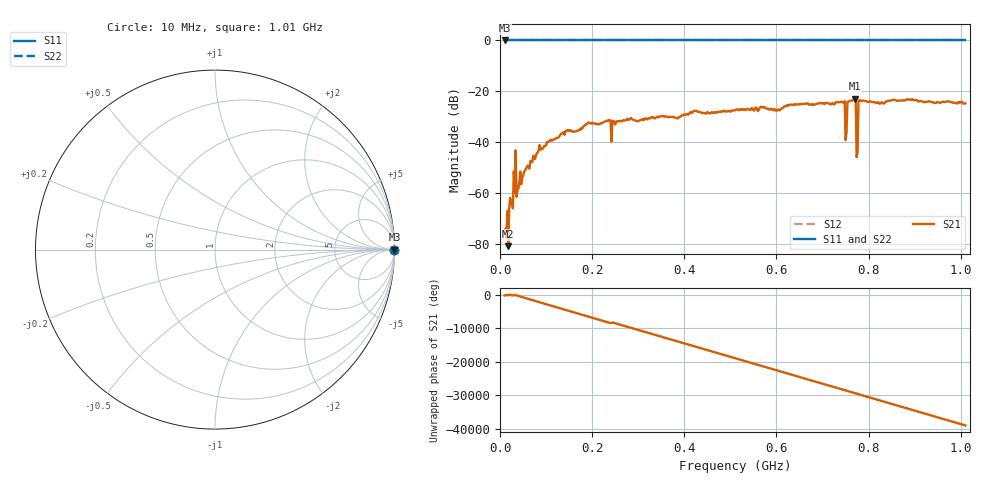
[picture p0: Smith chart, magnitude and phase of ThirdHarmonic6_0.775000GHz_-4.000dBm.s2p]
! 8/16/2025 1:52:25 AM
! C:\ANRITSUVNA\TEMP\TEMP.S2P
! CHANNEL.1
! TR.MEASUREMENT
! RAW.DATA
! RF.CORRECTION.OFF
! AVERAGING.OFF
! IF.BANDWIDTH: 5KHZ
! SWEEPTYPE:  FREQ.SWEEP(Linear)
! Reference Plane Port Info
! PORT:  PORT1  PORT2
! DISTANCE:  0  m  0  m
! TIME:  0  s  0  s
! PHASE.OFFSET:  0  deg.  0  deg.
! LOSS:  0  dB  0  dB
! REF.LOSS:  0  dB  0  dB
! REF.FREQ:  0  Hz  0  Hz
! Power Info
! POWER:  -20  dBm  -20  dBm
! EFF.POWER:  -20  dBm  -20  dBm
! SOURCE.ATTEN:  0  dB  0  dB
! TEST.ATTEN:  0  dB  0  dB
# GHZ S RI R 50.0
! FREQ.GHZ  S11RE  S11IM  S21RE  S21IM  S12RE  S12IM  S22RE  S22IM
!; PortSelection: Port_12
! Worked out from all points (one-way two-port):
!   501 points, 10 MHz to 1.01 GHz, reference 50 ohm
!   highest |S21| = -22.85 dB at 770 MHz (marker M1); lowest = -80.9 dB at 18 MHz (marker M2)
!   lowest |S11| = 0.0 dB at 10 MHz (marker M3)
!   |S11| at or under -10 dB: nowhere
!   |S22| runs from 0.0 to 0.0 dB; largest |S21 - S12| = 1.1
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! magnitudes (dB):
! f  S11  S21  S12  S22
! 10 MHz  0.0  -75.4  0.0  0.0
! 18 MHz  0.0  -80.9  0.0  0.0
! 28 MHz  0.0  -66.0  0.0  0.0
! 30 MHz  0.0  -51.4  0.0  0.0
! 34 MHz  0.0  -43.2  0.0  0.0
! 40 MHz  0.0  -58.2  0.0  0.0
! 84 MHz  0.0  -43.1  0.0  0.0
! 178 MHz  0.0  -34.8  0.0  0.0
! 344 MHz  0.0  -30.2  0.0  0.0
! 510 MHz  0.0  -27.5  0.0  0.0
! 678 MHz  0.0  -25.3  0.0  0.0
! 744 MHz  0.0  -24.3  0.0  0.0
! 748 MHz  0.0  -23.8  0.0  0.0
! 754 MHz  0.0  -24.1  0.0  0.0
! 758 MHz  0.0  -23.9  0.0  0.0
! 768 MHz  0.0  -23.4  0.0  0.0
! 770 MHz  0.0  -22.9  0.0  0.0
! 772 MHz  0.0  -23.2  0.0  0.0
! 778 MHz  0.0  -23.9  0.0  0.0
! 782 MHz  0.0  -23.8  0.0  0.0
! 844 MHz  0.0  -23.7  0.0  0.0
! 1.01 GHz  0.0  -24.7  0.0  0.0
